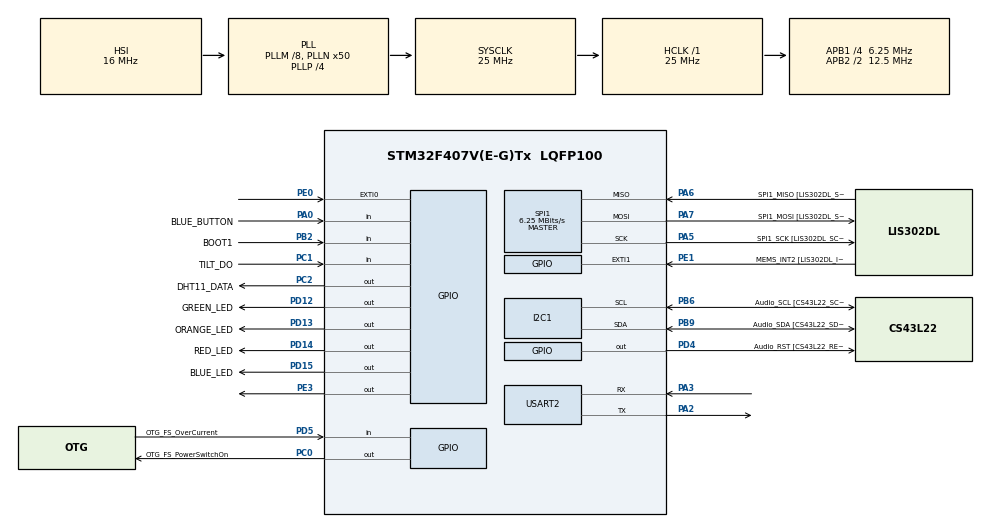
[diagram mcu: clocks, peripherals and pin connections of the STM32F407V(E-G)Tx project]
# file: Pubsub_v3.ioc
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I2C1.I2C_Mode=I2C_Fast
Mcu.Family=STM32F4
Mcu.Name=STM32F407V(E-G)Tx
Mcu.Package=LQFP100
NVIC.EXTI0_IRQn=true\:0\:0\:false\:false\:true\:true\:true\:true
NVIC.PriorityGroup=NVIC_PRIORITYGROUP_4
NVIC.TIM7_IRQn=true\:0\:0\:false\:false\:true\:false\:true\:true
NVIC.TimeBase=TIM7_IRQn
NVIC.TimeBaseIP=TIM7
PA0-WKUP.GPIO_Label=BLUE_BUTTON
PA0-WKUP.Signal=GPIO_Input
PA10.GPIO_Label=OTG_FS_ID
PA10.GPIO_Mode=GPIO_MODE_AF_PP
PA10.GPIO_PuPd=GPIO_NOPULL
PA10.GPIO_Speed=GPIO_SPEED_FREQ_LOW
PA10.Signal=USB_OTG_FS_ID
PA11.GPIO_Label=OTG_FS_DM
PA11.GPIO_Mode=GPIO_MODE_AF_PP
PA11.GPIO_PuPd=GPIO_NOPULL
PA11.GPIO_Speed=GPIO_SPEED_FREQ_LOW
PA11.Signal=USB_OTG_FS_DM
PA12.GPIO_Label=OTG_FS_DP
PA12.GPIO_Mode=GPIO_MODE_AF_PP
PA12.GPIO_PuPd=GPIO_NOPULL
PA12.GPIO_Speed=GPIO_SPEED_FREQ_LOW
PA12.Signal=USB_OTG_FS_DP
PA13.GPIO_Label=SWDIO
PA13.Mode=Serial_Wire
PA13.Signal=SYS_JTMS-SWDIO
PA14.GPIO_Label=SWCLK
PA14.Mode=Serial_Wire
PA14.Signal=SYS_JTCK-SWCLK
PA2.Mode=Asynchronous
PA2.Signal=USART2_TX
PA3.Mode=Asynchronous
PA3.Signal=USART2_RX
PA4.GPIO_Label=I2S3_WS [CS43L22_LRCK]
PA4.GPIO_Mode=GPIO_MODE_AF_PP
PA4.GPIO_PuPd=GPIO_NOPULL
PA4.GPIO_Speed=GPIO_SPEED_FREQ_LOW
PA4.Signal=I2S3_WS
PA5.GPIO_Label=SPI1_SCK [LIS302DL_SCL/SPC]
PA5.GPIO_Mode=GPIO_MODE_AF_PP
PA5.GPIO_PuPd=GPIO_NOPULL
PA5.GPIO_Speed=GPIO_SPEED_FREQ_LOW
PA5.Mode=Full_Duplex_Master
PA5.Signal=SPI1_SCK
PA6.GPIO_Label=SPI1_MISO [LIS302DL_SDO]
PA6.GPIO_Mode=GPIO_MODE_AF_PP
PA6.GPIO_PuPd=GPIO_NOPULL
PA6.GPIO_Speed=GPIO_SPEED_FREQ_LOW
PA6.Mode=Full_Duplex_Master
PA6.Signal=SPI1_MISO
PA7.GPIO_Label=SPI1_MOSI [LIS302DL_SDA/SDI/SDO]
PA7.GPIO_Mode=GPIO_MODE_AF_PP
PA7.GPIO_PuPd=GPIO_NOPULL
PA7.GPIO_Speed=GPIO_SPEED_FREQ_LOW
PA7.Mode=Full_Duplex_Master
PA7.Signal=SPI1_MOSI
PA9.GPIO_Label=VBUS_FS
PA9.GPIO_Mode=GPIO_MODE_INPUT
PA9.GPIO_PuPd=GPIO_NOPULL
PA9.Signal=USB_OTG_FS_VBUS
PB10.GPIO_Label=CLK_IN [MP45DT02_CLK]
PB10.GPIO_Mode=GPIO_MODE_AF_PP
PB10.GPIO_PuPd=GPIO_NOPULL
PB10.GPIO_Speed=GPIO_SPEED_FREQ_LOW
PB10.Signal=I2S2_CK
PB2.GPIO_Label=BOOT1
PB2.GPIO_Mode=GPIO_MODE_INPUT
PB2.GPIO_PuPd=GPIO_NOPULL
PB2.Signal=GPIO_Input
PB3.GPIO_Label=SWO
PB3.Signal=SYS_JTDO-SWO
PB6.GPIO_Label=Audio_SCL [CS43L22_SCL]
PB6.GPIO_Mode=GPIO_MODE_AF_OD
PB6.GPIO_PuPd=GPIO_NOPULL
PB6.GPIO_Speed=GPIO_SPEED_FREQ_LOW
PB6.Mode=I2C
PB6.Signal=I2C1_SCL
PB9.GPIO_Label=Audio_SDA [CS43L22_SDA]
PB9.GPIO_Mode=GPIO_MODE_AF_OD
PB9.GPIO_PuPd=GPIO_NOPULL
PB9.GPIO_Speed=GPIO_SPEED_FREQ_LOW
PB9.Mode=I2C
PB9.Signal=I2C1_SDA
PC0.GPIO_Label=OTG_FS_PowerSwitchOn
PC0.GPIO_PuPd=GPIO_NOPULL
PC0.GPIO_Speed=GPIO_SPEED_FREQ_LOW
PC0.PinState=GPIO_PIN_SET
PC0.Signal=GPIO_Output
PC1.GPIO_Label=TILT_DO
PC1.Signal=GPIO_Input
PC10.GPIO_Label=I2S3_SCK [CS43L22_SCLK]
PC10.GPIO_Mode=GPIO_MODE_AF_PP
PC10.GPIO_PuPd=GPIO_NOPULL
PC10.GPIO_Speed=GPIO_SPEED_FREQ_LOW
PC10.Signal=I2S3_CK
PC12.GPIO_Label=I2S3_SD [CS43L22_SDIN]
PC12.GPIO_Mode=GPIO_MODE_AF_PP
PC12.GPIO_PuPd=GPIO_NOPULL
PC12.GPIO_Speed=GPIO_SPEED_FREQ_LOW
PC12.Signal=I2S3_SD
PC14-OSC32_IN.GPIO_Label=PC14-OSC32_IN
PC14-OSC32_IN.Signal=RCC_OSC32_IN
PC15-OSC32_OUT.GPIO_Label=PC15-OSC32_OUT
PC15-OSC32_OUT.Signal=RCC_OSC32_OUT
PC2.GPIO_Label=DHT11_DATA
PC2.Signal=GPIO_Output
PC3.GPIO_Label=PDM_OUT [MP45DT02_DOUT]
PC3.GPIO_Mode=GPIO_MODE_AF_PP
PC3.GPIO_PuPd=GPIO_NOPULL
PC3.GPIO_Speed=GPIO_SPEED_FREQ_LOW
PC3.Signal=I2S2_SD
PC7.GPIO_Label=I2S3_MCK [CS43L22_MCLK]
PC7.GPIO_Mode=GPIO_MODE_AF_PP
PC7.GPIO_PuPd=GPIO_NOPULL
PC7.GPIO_Speed=GPIO_SPEED_FREQ_LOW
PC7.Signal=I2S3_MCK
PD12.GPIO_Label=GREEN_LED
PD12.Signal=GPIO_Output
PD13.GPIO_Label=ORANGE_LED
PD13.Signal=GPIO_Output
PD14.GPIO_Label=RED_LED
PD14.Signal=GPIO_Output
PD15.GPIO_Label=BLUE_LED
PD15.Signal=GPIO_Output
PD4.GPIO_Label=Audio_RST [CS43L22_RESET]
PD4.GPIO_PuPd=GPIO_NOPULL
PD4.GPIO_Speed=GPIO_SPEED_FREQ_LOW
PD4.Signal=GPIO_Output
PD5.GPIO_Label=OTG_FS_OverCurrent
PD5.GPIO_Mode=GPIO_MODE_INPUT
PD5.GPIO_PuPd=GPIO_NOPULL
PD5.Signal=GPIO_Input
PE0.Signal=GPXTI0
PE1.GPIO_Label=MEMS_INT2 [LIS302DL_INT2]
PE1.GPIO_ModeDefaultEXTI=GPIO_MODE_EVT_RISING
PE1.GPIO_PuPd=GPIO_NOPULL
PE1.Signal=GPXTI1
PE3.PinState=GPIO_PIN_SET
PE3.Signal=GPIO_Output
PH0-OSC_IN.GPIO_Label=PH0-OSC_IN
PH0-OSC_IN.Signal=RCC_OSC_IN
PH1-OSC_OUT.GPIO_Label=PH1-OSC_OUT
PH1-OSC_OUT.Signal=RCC_OSC_OUT
ProjectManager.HeapSize=0x200
ProjectManager.StackSize=0x400
ProjectManager.TargetToolchain=STM32CubeIDE
RCC.48MHZClocksFreq_Value=14285714.285714285
RCC.AHBFreq_Value=25000000
RCC.APB1CLKDivider=RCC_HCLK_DIV4
RCC.APB1Freq_Value=6250000
RCC.APB1TimFreq_Value=12500000
RCC.APB2CLKDivider=RCC_HCLK_DIV2
RCC.APB2Freq_Value=12500000
RCC.APB2TimFreq_Value=25000000
RCC.CortexFreq_Value=25000000
RCC.HCLKFreq_Value=25000000
RCC.HSE_VALUE=8000000
RCC.HSI_VALUE=16000000
RCC.LSE_VALUE=32768
RCC.PLLM=8
RCC.PLLN=50
RCC.PLLP=RCC_PLLP_DIV4
RCC.PLLQ=7
RCC.SYSCLKFreq_VALUE=25000000
RCC.SYSCLKSource=RCC_SYSCLKSOURCE_PLLCLK
RCC.VCOOutputFreq_Value=100000000
SPI1.CalculateBaudRate=6.25 MBits/s
SPI1.Direction=SPI_DIRECTION_2LINES
SPI1.Mode=SPI_MODE_MASTER
SPI1.VirtualType=VM_MASTER
USART2.VirtualMode=VM_ASYNC
VP_SYS_VS_tim7.Mode=TIM7
board=STM32F407G-DISC1

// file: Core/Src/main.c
/* USER CODE BEGIN Header */
/**
  ******************************************************************************
  * @file    main.c
  * @brief   Pubsub v3：DHT11 + 傾斜 + OLED
  ******************************************************************************
  */
/* USER CODE END Header */
#include "main.h"
#include "i2c.h"
#include "spi.h"
#include "usart.h"
#include "gpio.h"

/* USER CODE BEGIN Includes */
#include "FreeRTOS.h"
#include "task.h"
#include "pubsub.h"
#include "uart_log.h"
#include "app_tasks.h"
#include "dht11.h"
/* USER CODE END Includes */

void SystemClock_Config(void);

/* USER CODE BEGIN 0 */
void vApplicationStackOverflowHook(TaskHandle_t xTask, char *pcTaskName)
{
    (void)xTask; (void)pcTaskName;
    __disable_irq();
    for (;;);
}
void vApplicationMallocFailedHook(void)
{
    __disable_irq();
    for (;;);
}
/* USER CODE END 0 */

int main(void)
{

  HAL_Init();

  SystemClock_Config();

  MX_GPIO_Init();
  MX_USART2_UART_Init();
  MX_SPI1_Init();
  MX_I2C1_Init();

  /* USER CODE BEGIN 2 */
  DHT11_Init();
  uart_log_init();
  pubsub_init();
  uart_logf("=== Pubsub v3 STM32F407 ===\r\n");
  uart_logf("Build: %s %s\r\n", __DATE__, __TIME__);
  start_app_tasks();
  vTaskStartScheduler();
  /* USER CODE END 2 */

  while (1)
  {

  }
}

void SystemClock_Config(void)
{
  RCC_OscInitTypeDef RCC_OscInitStruct = {0};
  RCC_ClkInitTypeDef RCC_ClkInitStruct = {0};

  __HAL_RCC_PWR_CLK_ENABLE();
  __HAL_PWR_VOLTAGESCALING_CONFIG(PWR_REGULATOR_VOLTAGE_SCALE1);

  RCC_OscInitStruct.OscillatorType = RCC_OSCILLATORTYPE_HSI;
  RCC_OscInitStruct.HSIState = RCC_HSI_ON;
  RCC_OscInitStruct.HSICalibrationValue = RCC_HSICALIBRATION_DEFAULT;
  RCC_OscInitStruct.PLL.PLLState = RCC_PLL_ON;
  RCC_OscInitStruct.PLL.PLLSource = RCC_PLLSOURCE_HSI;
  RCC_OscInitStruct.PLL.PLLM = 8;
  RCC_OscInitStruct.PLL.PLLN = 50;
  RCC_OscInitStruct.PLL.PLLP = RCC_PLLP_DIV4;
  RCC_OscInitStruct.PLL.PLLQ = 7;
  if (HAL_RCC_OscConfig(&RCC_OscInitStruct) != HAL_OK)
  {
    Error_Handler();
  }

  RCC_ClkInitStruct.ClockType = RCC_CLOCKTYPE_HCLK|RCC_CLOCKTYPE_SYSCLK
                              |RCC_CLOCKTYPE_PCLK1|RCC_CLOCKTYPE_PCLK2;
  RCC_ClkInitStruct.SYSCLKSource = RCC_SYSCLKSOURCE_PLLCLK;
  RCC_ClkInitStruct.AHBCLKDivider = RCC_SYSCLK_DIV1;
  RCC_ClkInitStruct.APB1CLKDivider = RCC_HCLK_DIV4;
  RCC_ClkInitStruct.APB2CLKDivider = RCC_HCLK_DIV2;

  if (HAL_RCC_ClockConfig(&RCC_ClkInitStruct, FLASH_LATENCY_0) != HAL_OK)
  {
    Error_Handler();
  }
}

void HAL_TIM_PeriodElapsedCallback(TIM_HandleTypeDef *htim)
{
  if (htim->Instance == TIM7) {
    HAL_IncTick();
  }
}

void Error_Handler(void)
{
  __disable_irq();
  while (1)
  {
  }
}
